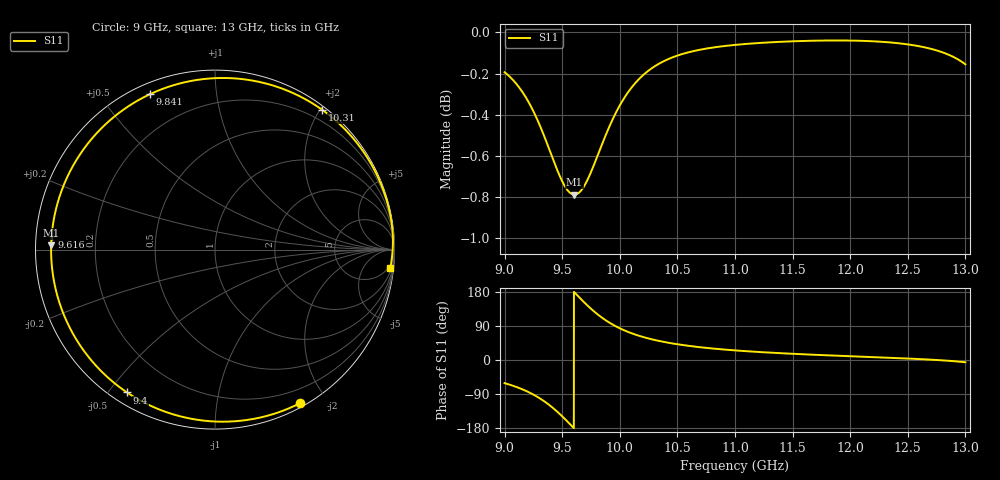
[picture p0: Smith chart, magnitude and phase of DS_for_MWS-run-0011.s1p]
! TOUCHSTONE file generated by CST DESIGN STUDIO
! Date and time: Tue Feb  4 15:57:30 2025
! Project name: C:\Work\MatlabApps\UnitCellOptimizationMatlab\CST\unitcell.cst
! Tree item: Tasks\Sweep1\SPara1\S-Parameters
! Header version: 2024
! Port assignment regex: !\s*Touchstone port\s*([0-9]+)\s*=\s*(CST MWS port|CST DES external port|CST DES block port)\s*(.+)\s* \(\"(.*)\"\)(\s*mode\s*([0-9]+))?.*
! Touchstone port assignment:
! Touchstone port 1 = CST DES external port 1 ("")
# GHz S MA R 50
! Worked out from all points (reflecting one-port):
!   4001 points, 9 GHz to 13 GHz, reference 50 ohm
!   lowest |S11| = -0.8 dB at 9.606 GHz (marker M1), VSWR 22.04, Z = 2.27 + j0.629 ohm
!   phase of S11 starts at -61 deg and turns -305 deg over the sweep
!   S11 on the Smith chart (normalised r, x): 9 GHz: 0.04, -1.70; 9.4 GHz: 0.04, -0.56; 9.616 GHz: 0.05, +0.04; 9.841 GHz: 0.05, +0.67; 10.31 GHz: 0.05, +2.03; 13 GHz: 3, -19
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9  0.978 -61.0
9.124  0.9699 -73.6
9.246  0.9573 -90.6
9.328  0.946 -105.6
9.4  0.9347 -121.7
9.45  0.9269 -134.5
9.5  0.9201 -148.6
9.555  0.9149 -165.3
9.606  0.9132 178.6
9.616  0.9133 175.4
9.672  0.9159 157.9
9.734  0.9227 139.6
9.787  0.9303 125.4
9.841  0.9386 112.6
9.914  0.9493 97.8
10  0.96 83.6
10.07  0.9669 74.3
10.143  0.9727 66.2
10.222  0.9775 59.0
10.309  0.9815 52.4
10.5  0.9871 41.6
10.719  0.9906 33.0
11  0.993 25.3
11.5  0.995 16.4
12  0.9955 9.9
12.5  0.9933 3.9
12.789  0.9892 -0.7
13  0.9823 -6.0
